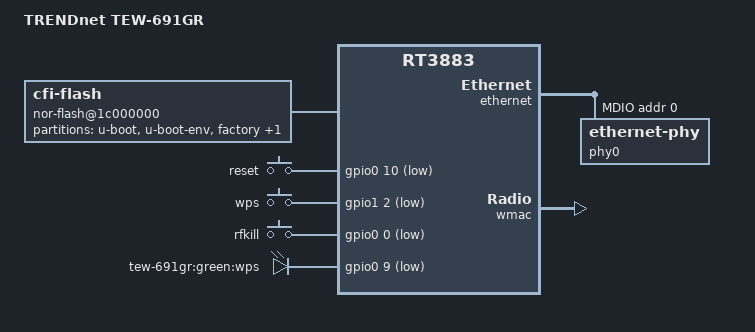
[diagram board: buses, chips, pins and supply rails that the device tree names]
/dts-v1/;

#include "rt3883.dtsi"

/ {
	compatible = "TEW-691GR", "ralink,rt3883-soc";
	model = "TRENDnet TEW-691GR";

	nor-flash@1c000000 {
		compatible = "cfi-flash";
		reg = <0x1c000000 0x800000>;
		bank-width = <2>;
		#address-cells = <1>;
		#size-cells = <1>;

		partition@0 {
			reg = <0x0 0x0030000>;
			label = "u-boot";
			read-only;
		};

		partition@30000 {
			reg = <0x00030000 0x00010000>;
			label = "u-boot-env";
			read-only;
		};

		factory: partition@40000 {
			reg = <0x00040000 0x00010000>;
			label = "factory";
			read-only;
		};

		partition@50000 {
			reg = <0x00050000 0x007b0000>;
			label = "firmware";
		};
	};

	gpio-keys-polled {
		compatible = "gpio-keys-polled";
		#address-cells = <1>;
		#size-cells = <0>;
		poll-interval = <100>;

		reset {
			label = "reset";
			gpios = <&gpio0 10 1>;
			linux,code = <0x198>;
		};

		wps {
			label = "wps";
			gpios = <&gpio1 2 1>;
			linux,code = <0x211>;
		};

		rfkill {
			label = "rfkill";
			gpios = <&gpio0 0 1>;
			linux,code = <0xf7>;
		};
	};

	gpio-leds {
		compatible = "gpio-leds";

		wps {
			label = "tew-691gr:green:wps";
			gpios = <&gpio0 9 1>;
		};
	};
};

&gpio1 {
	status = "okay";
};

&pinctrl {
	state_default: pinctrl0 {
		gpio {
			ralink,group = "spi", "i2c", "jtag", "uartf";
			ralink,function = "gpio";
		};
	};
};

&ethernet {
	mtd-mac-address = <&factory 0x28>;

	port@0 {
		phy-handle = <&phy0>;
		phy-mode = "rgmii";
	};

	mdio-bus {
		status = "okay";

		phy0: ethernet-phy@0 {
			reg = <0>;
		};
	};
};

&wmac {
	ralink,5ghz = <0>;
};
